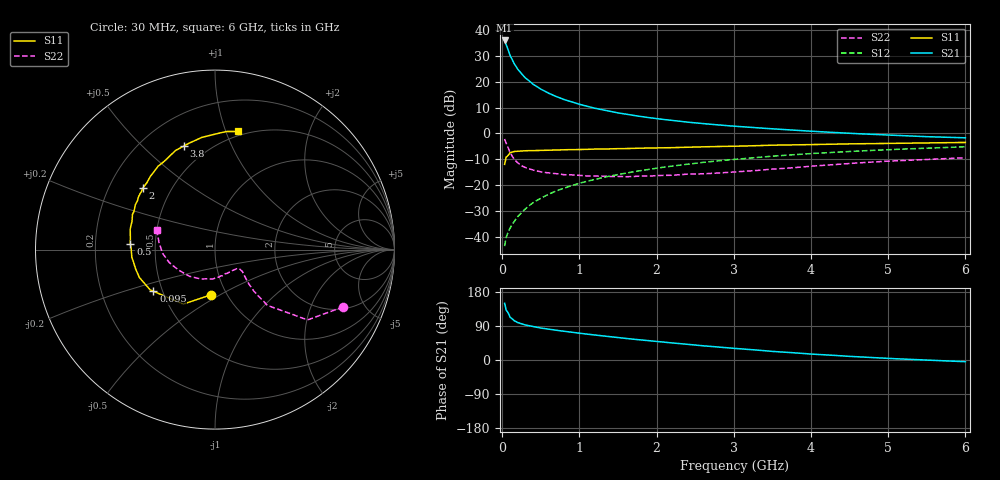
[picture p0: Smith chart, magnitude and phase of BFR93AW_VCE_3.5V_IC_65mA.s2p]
! Infineon Technologies  Discrete & RF Semiconductors
! BFR93AW
! VCE =  3.5 V,  IC =  65 mA
! Common Emitter S-Parameters:  Nov 2015
# GHz  S  MA  R  50
!  f  S11  S21  S12  S22
! GHz  MAG  ANG  MAG  ANG  MAG  ANG  MAG  ANG
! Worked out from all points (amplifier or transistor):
!   206 points, 30 MHz to 6 GHz, reference 50 ohm
!   highest |S21| = 35.9 dB at 30 MHz (marker M1)
!   |S21| within 3 dB of that: start of sweep to 68.36 MHz
!   unconditionally stable (mu >= 1): 254.3 MHz to 2.251 GHz
!   at 200 MHz: K = 0.95, MSG = 28.4 dB, |S12| = -32.1 dB
!   at 1.56 GHz: K = 1.04, MAG = 10.3 dB, |S12| = -15.5 dB
!   at 6 GHz: K = 0.93, MSG = 1.7 dB, |S12| = -5.1 dB
!   S11 on the Smith chart (normalised r, x): 30 MHz: 0.84, -0.45; 95 MHz: 0.45, -0.25; 500 MHz: 0.36, +0.03; 2 GHz: 0.35, +0.33; 3.8 GHz: 0.37, +0.67; 6 GHz: 0.46, +1.10
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0.03  0.2532 -95.2  62.21 149.7  0.0067 72.8  0.7825 -24.0
0.05  0.3515 -120.2  51.69 131.9  0.0099 68.5  0.6478 -37.2
0.095  0.4142 -145.9  33.89 115.6  0.0144 66.6  0.4473 -45.4
0.1  0.4254 -148.2  32.18 112.8  0.0149 66.5  0.4259 -46.8
0.15  0.449 -159.7  22.59 104.1  0.0196 71.3  0.3215 -47.0
0.2  0.4551 -166.3  17.33 98.8  0.0249 73.1  0.2708 -45.5
0.24  0.4581 -170.3  14.65 96.1  0.0287 73.4  0.2443 -43.9
0.3  0.4653 -174.6  11.74 92.3  0.0352 74.7  0.2199 -41.6
0.4  0.4668 179.9  8.861 88.0  0.0463 76.1  0.1956 -38.7
0.5  0.4724 176.1  7.141 84.3  0.0563 76.1  0.1808 -38.2
0.6  0.475 172.9  5.974 81.3  0.0672 76.5  0.1732 -38.1
0.7  0.4792 169.6  5.151 78.4  0.0779 76.0  0.1679 -39.5
0.82  0.4859 166.3  4.421 75.2  0.09 75.8  0.16 -42.0
1.04  0.4907 160.4  3.52 69.7  0.1137 74.1  0.1542 -47.4
1.46  0.5077 151.2  2.559 60.1  0.1572 70.9  0.1484 -61.8
2  0.5287 139.5  1.93 48.7  0.2142 65.9  0.1547 -82.4
2.02  0.5289 139.1  1.915 48.4  0.2163 65.7  0.1548 -82.9
3.1  0.5711 118.4  1.349 29.3  0.3255 54.5  0.1843 -119.2
3.8  0.6024 106.8  1.152 18.7  0.3911 46.7  0.22 -144.6
4.1  0.6133 102.2  1.084 14.6  0.4172 43.3  0.239 -154.0
5.1  0.6457 89.2  0.919 3.3  0.4937 32.2  0.2967 -178.6
6  0.6705 79.0  0.824 -4.4  0.5538 22.9  0.3404 161.7
